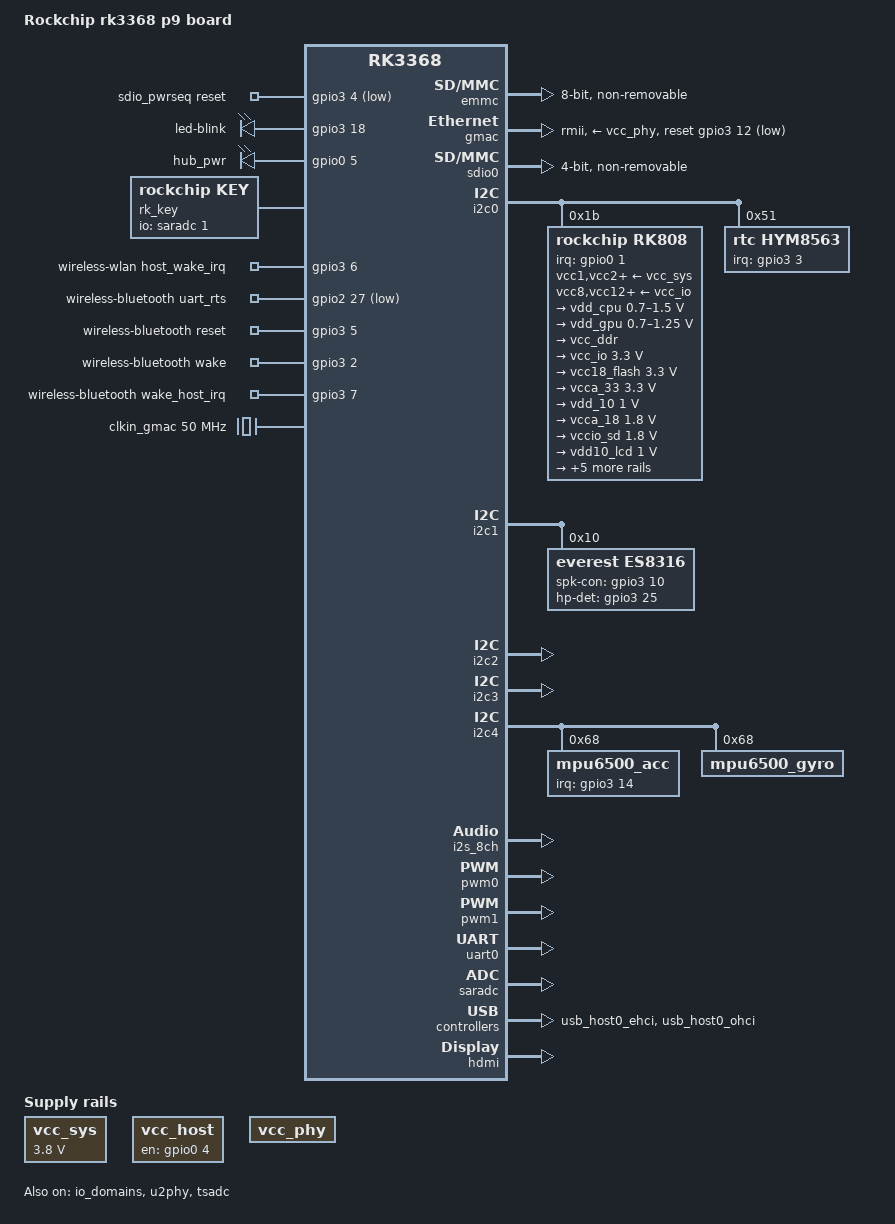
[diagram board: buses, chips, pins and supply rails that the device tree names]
/*
 * Copyright (c) 2017 Fuzhou Rockchip Electronics Co., Ltd
 *
 * This file is dual-licensed: you can use it either under the terms
 * of the GPL or the X11 license, at your option. Note that this dual
 * licensing only applies to this file, and not this project as a
 * whole.
 *
 *  a) This file is free software; you can redistribute it and/or
 *     modify it under the terms of the GNU General Public License as
 *     published by the Free Software Foundation; either version 2 of the
 *     License, or (at your option) any later version.
 *
 *     This file is distributed in the hope that it will be useful,
 *     but WITHOUT ANY WARRANTY; without even the implied warranty of
 *     MERCHANTABILITY or FITNESS FOR A PARTICULAR PURPOSE.  See the
 *     GNU General Public License for more details.
 *
 * Or, alternatively,
 *
 *  b) Permission is hereby granted, free of charge, to any person
 *     obtaining a copy of this software and associated documentation
 *     files (the "Software"), to deal in the Software without
 *     restriction, including without limitation the rights to use,
 *     copy, modify, merge, publish, distribute, sublicense, and/or
 *     sell copies of the Software, and to permit persons to whom the
 *     Software is furnished to do so, subject to the following
 *     conditions:
 *
 *     The above copyright notice and this permission notice shall be
 *     included in all copies or substantial portions of the Software.
 *
 *     THE SOFTWARE IS PROVIDED "AS IS", WITHOUT WARRANTY OF ANY KIND,
 *     EXPRESS OR IMPLIED, INCLUDING BUT NOT LIMITED TO THE WARRANTIES
 *     OF MERCHANTABILITY, FITNESS FOR A PARTICULAR PURPOSE AND
 *     NONINFRINGEMENT. IN NO EVENT SHALL THE AUTHORS OR COPYRIGHT
 *     HOLDERS BE LIABLE FOR ANY CLAIM, DAMAGES OR OTHER LIABILITY,
 *     WHETHER IN AN ACTION OF CONTRACT, TORT OR OTHERWISE, ARISING
 *     FROM, OUT OF OR IN CONNECTION WITH THE SOFTWARE OR THE USE OR
 *     OTHER DEALINGS IN THE SOFTWARE.
 */

/dts-v1/;
#include <dt-bindings/pwm/pwm.h>
#include <dt-bindings/sensor-dev.h>
#include "rk3368.dtsi"
#include "rk3368-android.dtsi"
#include "screen-timing/edp-1920x1080.dtsi"

/ {
	model = "Rockchip rk3368 p9 board";
	compatible = "rockchip,p9", "rockchip,rk3368";

	hdmi_analog: hdmi-analog {
	     status = "okay";
	     compatible = "rockchip,rk3368-hdmi-analog";
	     rockchip,cpu = <&i2s_8ch>;
	     rockchip,codec = <&es8316>, <&hdmi>;
	     rockchip,widgets = "Microphone", "Mic Jack",
			     "Headphone", "Headphone Jack";
	     rockchip,routing = "Mic Jack", "micbias",
			     "Headphone Jack", "HPOL",
			     "Headphone Jack", "HPOR";
   	};

	sdio_pwrseq: sdio-pwrseq {
		compatible = "mmc-pwrseq-simple";
		clocks = <&rk808 1>;
		clock-names = "ext_clock";
		pinctrl-names = "default";
		pinctrl-0 = <&wifi_enable_h>;

		/*
		 * On the module itself this is one of these (depending
		 * on the actual card populated):
		 * - SDIO_RESET_L_WL_REG_ON
		 * - PDN (power down when low)
		 */
		reset-gpios = <&gpio3 4 GPIO_ACTIVE_LOW>; /* GPIO3_A4 */
	};

	leds {
                status = "okay";
                compatible = "gpio-leds";

		SYS_STATUS {
                        gpios = <&gpio3 18 GPIO_ACTIVE_HIGH>;
                        label = "led-blink";//创建子节点 
                        linux,default-trigger = "timer";//没有默认的触发源,也可以写为timer 
                        retain-state-suspended; //休眠保持运行
                };
                hub_pwr {
                        gpios = <&gpio0 5 GPIO_ACTIVE_HIGH>;
                        default-state = "on";
                };
	};

	rk_key: rockchip-key {
		compatible = "rockchip,key";
		status = "okay";

		io-channels = <&saradc 1>;

		vol-up-key {
			linux,code = <115>;
			label = "volume up";
			rockchip,adc_value = <1>;
		};

		vol-down-key {
			linux,code = <114>;
			label = "volume down";
			rockchip,adc_value = <170>;
		};

		power-key {
			gpios = <&gpio0 2 GPIO_ACTIVE_LOW>;
			linux,code = <116>;
			label = "power";
			gpio-key,wakeup;
		};
	};

	wireless-wlan {
		compatible = "wlan-platdata";
		rockchip,grf = <&grf>;
		/* wifi_chip_type - wifi chip define
		* ap6210, ap6330, ap6335
		* rtl8188eu, rtl8723bs, rtl8723bu
		* esp8089
		*/
		wifi_chip_type = "ap6210";
		sdio_vref = <1800>; //1800mv or 3300mv
		WIFI,host_wake_irq = <&gpio3 6 GPIO_ACTIVE_HIGH>;
		status = "okay";
	};

	wireless-bluetooth {
		compatible = "bluetooth-platdata";
		clocks = <&rk808 1>;
		clock-names = "ext_clock";
		uart_rts_gpios = <&gpio2 27 GPIO_ACTIVE_LOW>;
		pinctrl-names = "default","rts_gpio";
		pinctrl-0 = <&uart0_rts>;
		pinctrl-1 = <&uart0_rts_gpio>;

		//BT,power_gpio = <&gpio3 3 GPIO_ACTIVE_HIGH>;
		BT,reset_gpio = <&gpio3 5 GPIO_ACTIVE_HIGH>;
		BT,wake_gpio = <&gpio3 2 GPIO_ACTIVE_HIGH>;
		BT,wake_host_irq = <&gpio3 7 GPIO_ACTIVE_HIGH>;

		status = "okay";
	};

	vcc_sys: vcc-sys {
		compatible = "regulator-fixed";
		regulator-name = "vcc_sys";
		regulator-always-on;
		regulator-boot-on;
		regulator-min-microvolt = <3800000>;
		regulator-max-microvolt = <3800000>;
	};

	vcc_host: vcc-host {
		compatible = "regulator-fixed";
		enable-active-high;
		gpio = <&gpio0 4 GPIO_ACTIVE_HIGH>;
		pinctrl-names = "default";
		pinctrl-0 = <&host_vbus_drv>;
		regulator-name = "vcc_host";
		regulator-always-on;
	};
	
	vcc_phy: vcc-phy-regulator {
		compatible = "regulator-fixed";
		regulator-name = "vcc_phy";
		regulator-always-on;
		regulator-boot-on;
	};

	clkin_gmac: external-gmac-clock {
		compatible = "fixed-clock";
		clock-frequency = <50000000>;//RGMII:125000000  RMII:50000000
		clock-output-names = "clkin_gmac";
		#clock-cells = <0>;
	};
};

&cpu_l0 {
	cpu-supply = <&vdd_cpu>;
};

&cpu_l1 {
	cpu-supply = <&vdd_cpu>;
};

&cpu_l2 {
	cpu-supply = <&vdd_cpu>;
};

&cpu_l3 {
	cpu-supply = <&vdd_cpu>;
};

&cpu_b0 {
	cpu-supply = <&vdd_cpu>;
};

&cpu_b1 {
	cpu-supply = <&vdd_cpu>;
};

&cpu_b2 {
	cpu-supply = <&vdd_cpu>;
};

&cpu_b3 {
	cpu-supply = <&vdd_cpu>;
};

&gpu {
	logic-supply = <&vdd_gpu>;
};

&rockchip_suspend {
	status = "okay";
	rockchip,sleep-mode-config = <
		(0
		| RKPM_SLP_ARMOFF
		| RKPM_SLP_PMU_PLLS_PWRDN
		| RKPM_SLP_PMU_PMUALIVE_32K
		| RKPM_SLP_SFT_PLLS_DEEP
		| RKPM_SLP_PMU_DIS_OSC
		| RKPM_SLP_SFT_PD_NBSCUS
		)
	>;
	rockchip,wakeup-config = <
		(0
		| RKPM_GPIO_WKUP_EN
		| RKPM_USB_WKUP_EN
		| RKPM_CLUSTER_L_WKUP_EN
		)
	>;
};

&emmc {
	bus-width = <8>;
	cap-mmc-highspeed;
	mmc-hs200-1_8v;
	supports-emmc;
	disable-wp;
	non-removable;
	mmc-pwrseq = <&sdio_pwrseq>;
	num-slots = <1>;
	pinctrl-names = "default";
	pinctrl-0 = <&emmc_clk &emmc_cmd &emmc_bus8>;
	status = "okay";
};

&sdmmc {
	clock-frequency = <37500000>;
	clock-freq-min-max = <400000 37500000>;
	supports-sd;
	cap-mmc-highspeed;
	cap-sd-highspeed;
	card-detect-delay = <200>;
	disable-wp;
	num-slots = <1>;
	pinctrl-names = "default";
	pinctrl-0 = <&sdmmc_clk &sdmmc_cmd &sdmmc_cd &sdmmc_bus4>;
	status = "disabled";
};

&gmac {
	phy-supply = <&vcc_phy>;
	phy-mode = "rmii";
	clock_in_out = "output";
	snps,reset-gpio = <&gpio3 12 0>;
	snps,reset-active-low;
	snps,reset-delays-us = <0 50000 50000>;
	//assigned-clocks = <&cru SCLK_RMII_SRC>;
	//assigned-clock-parents = <&clkin_gmac>;
	pinctrl-names = "default";
	pinctrl-0 = <&rmii_pins>;
	tx_delay = <0x30>;
	rx_delay = <0x10>;
	status = "okay";
};

&sdio0 {
	clock-frequency = <50000000>;
	clock-freq-min-max = <200000 50000000>;
	supports-sdio;
	bus-width = <4>;
	disable-wp;
	cap-sd-highspeed;
	cap-sdio-irq;
	keep-power-in-suspend;
	mmc-pwrseq = <&sdio_pwrseq>;
	non-removable;
	num-slots = <1>;
	pinctrl-names = "default";
	pinctrl-0 = <&sdio0_bus4 &sdio0_cmd &sdio0_clk>;
	sd-uhs-sdr104;
	status = "okay";
};

&i2c0 {
	status = "okay";
	rk808: pmic@1b {
		status = "okay";
		compatible = "rockchip,rk808";
		reg = <0x1b>;
		interrupt-parent = <&gpio0>;
		interrupts = <1 IRQ_TYPE_LEVEL_LOW>;
		pinctrl-names = "default";
		pinctrl-0 = <&pmic_int_l>;
		rockchip,system-power-controller;
		wakeup-source;
		#clock-cells = <1>;
		clock-output-names = "xin32k", "rk808-clkout2";

		vcc1-supply = <&vcc_sys>;
		vcc2-supply = <&vcc_sys>;
		vcc3-supply = <&vcc_sys>;
		vcc4-supply = <&vcc_sys>;
		vcc6-supply = <&vcc_sys>;
		vcc7-supply = <&vcc_sys>;
		vcc8-supply = <&vcc_io>;
		vcc9-supply = <&vcc_sys>;
		vcc10-supply = <&vcc_sys>;
		vcc11-supply = <&vcc_sys>;
		vcc12-supply = <&vcc_io>;
		vddio-supply = <&vcc_io>;

		regulators {
			vdd_cpu: DCDC_REG1 {
				regulator-always-on;
				regulator-boot-on;
				regulator-min-microvolt = <700000>;
				regulator-max-microvolt = <1500000>;
				regulator-name = "vdd_arm";
				regulator-state-mem {
					regulator-off-in-suspend;
				};
			};

			vdd_gpu: DCDC_REG2 {
				regulator-always-on;
				regulator-boot-on;
				regulator-min-microvolt = <700000>;
				regulator-max-microvolt = <1250000>;
				regulator-name = "vdd_gpu";
				regulator-ramp-delay = <6000>;
				regulator-state-mem {
					regulator-on-in-suspend;
					regulator-suspend-microvolt = <1000000>;
				};
			};

			vcc_ddr: DCDC_REG3 {
				regulator-always-on;
				regulator-boot-on;
				regulator-name = "vcc_ddr";
				regulator-state-mem {
					regulator-on-in-suspend;
				};
			};

			vcc_io: DCDC_REG4 {
				regulator-always-on;
				regulator-boot-on;
				regulator-min-microvolt = <3300000>;
				regulator-max-microvolt = <3300000>;
				regulator-name = "vcc_io";
				regulator-state-mem {
					regulator-on-in-suspend;
					regulator-suspend-microvolt = <3300000>;
				};
			};

			vcc18_flash: LDO_REG1 {
				regulator-always-on;
				regulator-boot-on;
				regulator-min-microvolt = <3300000>;
				regulator-max-microvolt = <3300000>;
				regulator-name = "vcc18_flash";
				regulator-state-mem {
					regulator-on-in-suspend;
					regulator-suspend-microvolt = <3300000>;
				};
			};

			vcca_33: LDO_REG2 {
				regulator-always-on;
				regulator-boot-on;
				regulator-min-microvolt = <3300000>;
				regulator-max-microvolt = <3300000>;
				regulator-name = "vcca_33";
				regulator-state-mem {
					regulator-on-in-suspend;
					regulator-suspend-microvolt = <3300000>;
				};
			};

			vdd_10: LDO_REG3 {
				regulator-always-on;
				regulator-boot-on;
				regulator-min-microvolt = <1000000>;
				regulator-max-microvolt = <1000000>;
				regulator-name = "vdd_10";
				regulator-state-mem {
					regulator-on-in-suspend;
					regulator-suspend-microvolt = <1000000>;
				};
			};

			vcca_18: LDO_REG4 {
				regulator-always-on;
				regulator-boot-on;
				regulator-min-microvolt = <1800000>;
				regulator-max-microvolt = <1800000>;
				regulator-name = "vcca_18";
				regulator-state-mem {
					regulator-on-in-suspend;
					regulator-suspend-microvolt = <1800000>;
				};
			};

			vccio_sd: LDO_REG5 {
				regulator-always-on;
				regulator-boot-on;
				regulator-min-microvolt = <1800000>;
				regulator-max-microvolt = <1800000>;
				regulator-name = "vccio_sd";
				regulator-state-mem {
					regulator-on-in-suspend;
					regulator-suspend-microvolt = <1800000>;
				};
			};

			vdd10_lcd: LDO_REG6 {
				regulator-always-on;
				regulator-boot-on;
				regulator-min-microvolt = <1000000>;
				regulator-max-microvolt = <1000000>;
				regulator-name = "vdd10_lcd";
				regulator-state-mem {
					regulator-off-in-suspend;
					regulator-suspend-microvolt = <1000000>;
				};
			};

			vcc_18: LDO_REG7 {
				regulator-always-on;
				regulator-boot-on;
				regulator-min-microvolt = <1800000>;
				regulator-max-microvolt = <1800000>;
				regulator-name = "vcc_18";
				regulator-state-mem {
					regulator-on-in-suspend;
					regulator-suspend-microvolt = <1800000>;
				};
			};

			vcc18_lcd: LDO_REG8 {
				regulator-always-on;
				regulator-boot-on;
				regulator-min-microvolt = <1800000>;
				regulator-max-microvolt = <1800000>;
				regulator-name = "vcc18_lcd";
				regulator-state-mem {
					regulator-off-in-suspend;
					regulator-suspend-microvolt = <1800000>;
				};
			};

			vcc_sd: SWITCH_REG1 {
				regulator-always-on;
				regulator-boot-on;
				regulator-min-microvolt = <1800000>;
                                regulator-max-microvolt = <3300000>;
				regulator-name = "vcc_sd";
				regulator-state-mem {
					regulator-on-in-suspend;
					regulator-suspend-microvolt = <3000000>;
				};
			};

			vcc_lan: SWITCH_REG2 {
				regulator-always-on;
				regulator-boot-on;
				regulator-name = "vcc_lan";
				regulator-state-mem {
					regulator-on-in-suspend;
				};
			};

			otg_switch: OTG_SWITCH {
				regulator-name = "otg_switch";
			};
		};
	};

	rtc@51 {
                compatible = "rtc,hym8563";
                reg = <0x51>;
                irq_gpio = <&gpio3 3 IRQ_TYPE_EDGE_FALLING>;
		status = "okay";
        };
};

&i2c1 {
	status = "okay";

	es8316: es8316@10 {
		status = "okay";
		#sound-dai-cells = <0>;
		compatible = "everest,es8316";
		reg = <0x10>;
		clocks = <&cru SCLK_I2S_8CH_OUT>;
		clock-names = "mclk";
		spk-con-gpio = <&gpio3 10 GPIO_ACTIVE_HIGH>;
		hp-det-gpio = <&gpio3 25 GPIO_ACTIVE_HIGH>;
		pinctrl-names = "default";
		pinctrl-0 = <&i2s_8ch_mclk>;
	};
};

&i2c2 {
	status = "okay";
};

&i2c3 {
	status = "okay";
};

&i2c4 {
	status = "okay";

	mpu6500_acc: mpu_acc@68 {
		compatible = "mpu6500_acc";
		reg = <0x68>;
		irq-gpio = <&gpio3 14 IRQ_TYPE_LEVEL_LOW>;
		irq_enable = <0>;
		poll_delay_ms = <30>;
		type = <SENSOR_TYPE_ACCEL>;
		layout = <7>;
	};

	mpu6500_gyro: mpu_gyro@68 {
		compatible = "mpu6500_gyro";
		reg = <0x68>;
		irq_enable = <0>;
		poll_delay_ms = <30>;
		type = <SENSOR_TYPE_GYROSCOPE>;
		layout = <7>;
	};

	mpu6500@68 {
		status = "disabled";
		compatible = "invensense,mpu6500";
		pinctrl-names = "default";
		pinctrl-0 = <&mpu6500_irq_gpio>;
		reg = <0x68>;
		irq-gpio = <&gpio3 14 IRQ_TYPE_EDGE_RISING>;
		mpu-int_config = <0x10>;
		mpu-level_shifter = <0>;
		mpu-orientation = <1 0 0 0 1 0 0 0 1>;
		orientation-x= <1>;
		orientation-y= <0>;
		orientation-z= <1>;
		support-hw-poweroff = <1>;
		mpu-debug = <1>;
	};
};

&i2s_8ch {
	status = "okay";
	rockchip,i2s-broken-burst-len;
	rockchip,playback-channels = <8>;
	rockchip,capture-channels = <2>;
	#sound-dai-cells = <0>;
};

&io_domains {
	status = "okay";

	dvp-supply = <&vcc_18>;
	audio-supply = <&vcc_io>;
	gpio30-supply = <&vcc_io>;
	gpio1830-supply = <&vcc_io>;
	sdcard-supply = <&vccio_sd>;
	wifi-supply = <&vcc_io>;
};

&pmu_io_domains {
	status = "okay";

	pmu-supply = <&vcc_io>;
	vop-supply = <&vcc_io>;
};

&pwm0 {
	status = "okay";
};

&pwm1 {
        status = "okay";
};

&uart0 {
	pinctrl-names = "default";
	pinctrl-0 = <&uart0_xfer &uart0_cts>;
	status = "okay";
};

&saradc {
	status = "okay";
};

&u2phy {
	status = "okay";

	u2phy_host: host-port {
		phy-supply = <&vcc_host>;
		status = "okay";
	};
};

&usb_host0_ehci {
	status = "okay";
};

&usb_host0_ohci {
	status = "okay";
};

&tsadc {
	tsadc-supply = <&vdd_cpu>;
	status = "okay";
};

&hdmi {
        status = "okay";
};

&pinctrl {
	pmic {
		pmic_int_l: pmic-int-l {
			rockchip,pins = <RK_GPIO0 1 RK_FUNC_GPIO &pcfg_pull_up>;
		};
		vsel_gpio: vsel-gpio {
			rockchip,pins = <0 0 RK_FUNC_GPIO &pcfg_pull_down>;
		};
	};

	mpu6500 {
		mpu6500_irq_gpio: mpu6500-irq-gpio {
			rockchip,pins = <3 14 RK_FUNC_GPIO &pcfg_pull_none>;
		};
	};

	dc_det {
		dc_irq_gpio: dc-irq-gpio {
			rockchip,pins = <0 17 RK_FUNC_GPIO &pcfg_pull_up>;
		};
	};

	sdio-pwrseq {
		wifi_enable_h: wifi-enable-h {
			rockchip,pins = <3 4 RK_FUNC_GPIO &pcfg_pull_none>;
		};
	};

	usb2 {
		host_vbus_drv: host-vbus-drv {
			rockchip,pins = <RK_GPIO0 4 RK_FUNC_GPIO &pcfg_pull_none>;
		};
	};

	wireless-bluetooth {
		uart0_rts_gpio: uart0-rts-gpio {
			rockchip,pins = <2 27 RK_FUNC_GPIO &pcfg_pull_none>;
		};
	};

	yx {
		bl_en: bl-en {
			rockchip,pins = <3 28 RK_FUNC_GPIO &pcfg_pull_none>;
		};
	};
};

